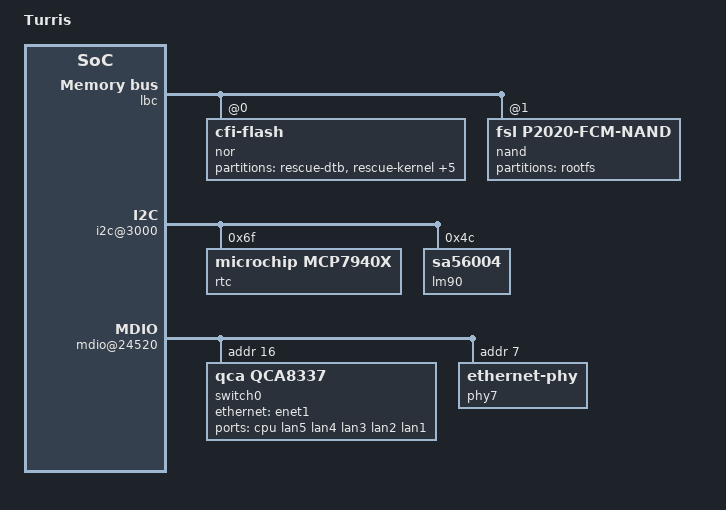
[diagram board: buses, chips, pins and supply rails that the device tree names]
/*
 * Turris RDB Device Tree Source
 *
 * Copyright 2013 CZ.NIC z.s.p.o. (http://www.nic.cz/)
 *
 * This program is free software; you can redistribute  it and/or modify it
 * under  the terms of  the GNU General  Public License as published by the
 * Free Software Foundation;  either version 2 of the  License, or (at your
 * option) any later version.
 */

#include <dt-bindings/gpio/gpio.h>
/include/ "fsl/p2020si-pre.dtsi"

/ {
	model = "Turris";
	compatible = "cznic,turris1x", "fsl,P2020RDB";

	aliases {
		ethernet0 = &enet0;
		ethernet1 = &enet1;
		ethernet2 = &enet2;
		serial0 = &serial0;
		serial1 = &serial1;
		pci0 = &pci0;
		pci1 = &pci1;
		pci2 = &pci2;
		spi0 = &spi0;
	};

	memory {
		device_type = "memory";
	};

	lbc: localbus@ffe05000 {
		reg = <0 0xffe05000 0 0x1000>;

		/* NOR and NAND Flashes */
		ranges = <0x0 0x0 0x0 0xef000000 0x01000000
			  0x1 0x0 0x0 0xff800000 0x00040000
			  0x2 0x0 0x0 0xffb00000 0x00020000>;

		nor@0,0 {
			#address-cells = <1>;
			#size-cells = <1>;
			compatible = "cfi-flash";
			reg = <0x0 0x0 0x1000000>;
			bank-width = <2>;
			device-width = <1>;

			partitions {
				compatible = "fixed-partitions";
				#address-cells = <1>;
				#size-cells = <1>;

				partition@0 {
					/* 128KB for DTB Image */
					reg = <0x0 0x00020000>;
					label = "rescue-dtb";
				};

				partition@20000 {
					/* 1.7 MB for Linux Kernel Image */
					reg = <0x00020000 0x1A0000>;
					label = "rescue-kernel";
				};

				partition@1C0000 {
					/* 1.5 MB for JFFS2 based Root file System */
					reg = <0x001C0000 0x180000>;
					label = "rescue-rootfs";
				};

				partition@340000 {
					/* WTF IS THIS  * /
					/* for nand fw backup */
					reg = <0x00340000 0xb00000>;
					label = "rescue-fw";
				};

				partition@E40000 {
					/* 128KB for Certificates backup */
					reg = <0xE40000 0x000C0000>;
					label = "certificates";
				};

				partition@f00000 {
					/* 512KB for u-boot Bootloader Image */
					reg = <0x00f00000 0x00080000>;
					label = "u-boot";
					read-only;
				};

				partition@f80000 {
					/* 512KB for u-boot Environment Variables */
					reg = <0x00f80000 0x00080000>;
					label = "u-boot-env";
					read-only;
				};
			};
		};

		nand@1,0 {
			#address-cells = <1>;
			#size-cells = <1>;
			compatible = "fsl,p2020-fcm-nand",
				     "fsl,elbc-fcm-nand";
			reg = <0x1 0x0 0x00040000>;
			nand-ecc-mode = "soft";
			nand-ecc-algo = "bch";

			partitions {
				compatible = "fixed-partitions";
				#address-cells = <1>;
				#size-cells = <1>;

				partition@00 {
					reg = <0x00000000 0x10000000>;
					label = "rootfs";
				};
			};
		};
	};

	soc: soc@ffe00000 {
		ranges = <0x0 0x0 0xffe00000 0x100000>;

		i2c@3000 {
			rtc@6f {
				compatible = "microchip,mcp7940x";
				reg = <0x6f>;
			};
			lm90@4c {
				compatible = "sa56004";
				reg = <0x4c>;
			};
		};

		gpio0: gpio-controller@fc00 {
		};

		usb@22000 {
			phy_type = "ulpi";
			dr_mode = "host";
		};

		mdio@24520 {
			switch0@10 {
				compatible = "qca,qca8337";
				#size-cells = <0>;
				#address-cells = <1>;
				interrupts = <2 1 0 0>;
				reg = <0x10>;

				ports {
					#address-cells = <1>;
					#size-cells = <0>;

					port@0 {
						reg = <0>;
						label = "cpu";
						ethernet = <&enet1>;
						phy-mode = "rgmii-id";
						fixed-link {
							speed = <1000>;
							full-duplex;
						};
					};

					port@1 {
						reg = <1>;
						label = "lan5";
					};

					port@2 {
						reg = <2>;
						label = "lan4";
					};

					port@3 {
						reg = <3>;
						label = "lan3";
					};

					port@4 {
						reg = <4>;
						label = "lan2";
					};

					port@5 {
						reg = <5>;
						label = "lan1";
					};
				};
			};

			phy7: ethernet-phy@7 {
				interrupts = <3 1 0 0>;
				reg = <0x7>;
			};
		};

		mdio@25520 {
			status = "disabled";
		};

		mdio@26520 {
			status = "disabled";
		};


		ptp_clock@24e00 {
			fsl,tclk-period = <5>;
			fsl,tmr-prsc = <200>;
			fsl,tmr-add = <0xCCCCCCCD>;
			fsl,tmr-fiper1 = <0x3B9AC9FB>;
			fsl,tmr-fiper2 = <0x0001869B>;
			fsl,max-adj = <249999999>;
		};

		enet0: ethernet@24000 {
			phy-connection-type = "rgmii-id";
			fixed-link {
				speed = <1000>;
				full-duplex;
			};
		};

		enet1: ethernet@25000 {
			phy-connection-type = "rgmii-id";
			fixed-link {
				speed = <1000>;
				full-duplex;
			};
		};

		enet2: ethernet@26000 {
			phy-handle = <&phy7>;
			phy-connection-type = "rgmii-id";
		};

		sdhc@2e000 {
			cd-gpios = <&gpio0 8 GPIO_ACTIVE_LOW>;
		};
	};
	pci2: pcie@ffe08000 {
		ranges = <0x2000000 0x0 0xc0000000 0 0xc0000000 0x0 0x20000000
			  0x1000000 0x0 0x00000000 0 0xffc20000 0x0 0x10000>;
		reg = <0 0xffe08000 0 0x1000>;
		pcie@0 {
			ranges = <0x2000000 0x0 0xc0000000
				  0x2000000 0x0 0xc0000000
				  0x0 0x20000000

				  0x1000000 0x0 0x0
				  0x1000000 0x0 0x0
				  0x0 0x10000>;
		};
	};

	pci1: pcie@ffe09000 {
		ranges = <0x2000000 0x0 0xa0000000 0 0xa0000000 0x0 0x20000000
			  0x1000000 0x0 0x00000000 0 0xffc10000 0x0 0x10000>;
		reg = <0 0xffe09000 0 0x1000>;
		pcie@0 {
			ranges = <0x2000000 0x0 0xa0000000
				  0x2000000 0x0 0xa0000000
				  0x0 0x20000000

				  0x1000000 0x0 0x0
				  0x1000000 0x0 0x0
				  0x0 0x10000>;
		};
	};

	pci0: pcie@ffe0a000 {
		ranges = <0x2000000 0x0 0x80000000 0 0x80000000 0x0 0x20000000
			  0x1000000 0x0 0x00000000 0 0xffc00000 0x0 0x10000>;
		reg = <0 0xffe0a000 0 0x1000>;
		pcie@0 {
			ranges = <0x2000000 0x0 0x80000000
				  0x2000000 0x0 0x80000000
				  0x0 0x20000000

				  0x1000000 0x0 0x0
				  0x1000000 0x0 0x0
				  0x0 0x10000>;
		};
	};

};

/include/ "fsl/p2020si-post.dtsi"
